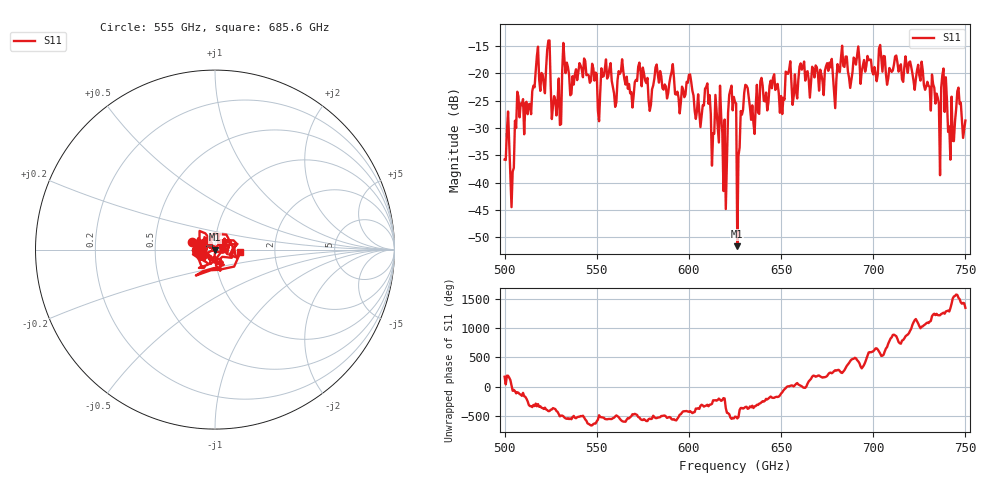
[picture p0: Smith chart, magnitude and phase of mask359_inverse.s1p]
!Created with skrf (http://scikit-rf.org).
# GHz S MA R 50.0
!freq magS11 angS11
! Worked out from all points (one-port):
!   401 points, 500 GHz to 750 GHz, reference 50 ohm
!   lowest |S11| = -51.6 dB at 626.2 GHz (marker M1), VSWR 1.01, Z = 49.7 + j0.0235 ohm
!   |S11| at or under -10 dB: start of sweep to end of sweep
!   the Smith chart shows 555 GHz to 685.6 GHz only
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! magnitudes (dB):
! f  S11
! 500 GHz  -35.8
! 503.8 GHz  -44.5
! 506.9 GHz  -23.3
! 513.8 GHz  -25.6
! 516.9 GHz  -19.5
! 523.8 GHz  -14.0
! 526.9 GHz  -24.2
! 531.2 GHz  -19.5
! 533.1 GHz  -19.9
! 550.6 GHz  -26.8
! 562.5 GHz  -20.1
! 593.8 GHz  -23.3
! 610 GHz  -21.8
! 612.5 GHz  -36.9
! 618.1 GHz  -30.9
! 619.4 GHz  -28.4
! 622.5 GHz  -23.0
! 624.4 GHz  -24.3
! 625 GHz  -25.2
! 626.2 GHz  -51.6
! 631.2 GHz  -22.2
! 634.4 GHz  -25.8
! 656.2 GHz  -25.8
! 687.5 GHz  -22.7
! 718.8 GHz  -19.9
! 738.1 GHz  -19.1
! 742.5 GHz  -24.2
! 750 GHz  -28.6
